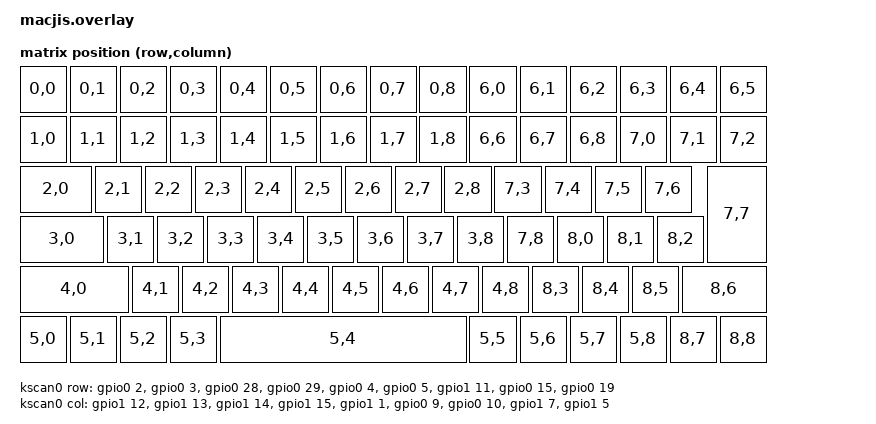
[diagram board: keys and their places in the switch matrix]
/* scripts/gen_zmk.py で生成。直接編集しない */

#include <dt-bindings/zmk/matrix_transform.h>
#include <physical_layouts.dtsi>

/ {
    chosen {
        zmk,kscan = &kscan0;
        zmk,physical-layout = &macjis_layout;
    };

    kscan0: kscan {
        compatible = "zmk,kscan-gpio-matrix";
        wakeup-source;
        diode-direction = "col2row";

        row-gpios
            = <&gpio0 2 (GPIO_ACTIVE_HIGH | GPIO_PULL_DOWN)>  /* ROW0 = D0 */
            , <&gpio0 3 (GPIO_ACTIVE_HIGH | GPIO_PULL_DOWN)>  /* ROW1 = D1 */
            , <&gpio0 28 (GPIO_ACTIVE_HIGH | GPIO_PULL_DOWN)>  /* ROW2 = D2 */
            , <&gpio0 29 (GPIO_ACTIVE_HIGH | GPIO_PULL_DOWN)>  /* ROW3 = D3 */
            , <&gpio0 4 (GPIO_ACTIVE_HIGH | GPIO_PULL_DOWN)>  /* ROW4 = D4 */
            , <&gpio0 5 (GPIO_ACTIVE_HIGH | GPIO_PULL_DOWN)>  /* ROW5 = D5 */
            , <&gpio1 11 (GPIO_ACTIVE_HIGH | GPIO_PULL_DOWN)>  /* ROW6 = D6 */
            , <&gpio0 15 (GPIO_ACTIVE_HIGH | GPIO_PULL_DOWN)>  /* ROW7 = D11 */
            , <&gpio0 19 (GPIO_ACTIVE_HIGH | GPIO_PULL_DOWN)>  /* ROW8 = D12 */
            ;
        col-gpios
            = <&gpio1 12 GPIO_ACTIVE_HIGH>  /* COL0 = D7 */
            , <&gpio1 13 GPIO_ACTIVE_HIGH>  /* COL1 = D8 */
            , <&gpio1 14 GPIO_ACTIVE_HIGH>  /* COL2 = D9 */
            , <&gpio1 15 GPIO_ACTIVE_HIGH>  /* COL3 = D10 */
            , <&gpio1 1 GPIO_ACTIVE_HIGH>  /* COL4 = D13 */
            , <&gpio0 9 GPIO_ACTIVE_HIGH>  /* COL5 = D14 */
            , <&gpio0 10 GPIO_ACTIVE_HIGH>  /* COL6 = D15 */
            , <&gpio1 7 GPIO_ACTIVE_HIGH>  /* COL7 = D17 */
            , <&gpio1 5 GPIO_ACTIVE_HIGH>  /* COL8 = D18 */
            ;
    };

    default_transform: keymap_transform_0 {
        compatible = "zmk,matrix-transform";
        rows = <9>;
        columns = <9>;
        map = <
RC(0,0) RC(0,1) RC(0,2) RC(0,3) RC(0,4) RC(0,5) RC(0,6) RC(0,7) RC(0,8) RC(6,0) RC(6,1) RC(6,2) RC(6,3) RC(6,4) RC(6,5)
RC(1,0) RC(1,1) RC(1,2) RC(1,3) RC(1,4) RC(1,5) RC(1,6) RC(1,7) RC(1,8) RC(6,6) RC(6,7) RC(6,8) RC(7,0) RC(7,1) RC(7,2)
RC(2,0) RC(2,1) RC(2,2) RC(2,3) RC(2,4) RC(2,5) RC(2,6) RC(2,7) RC(2,8) RC(7,3) RC(7,4) RC(7,5) RC(7,6) RC(7,7)
RC(3,0) RC(3,1) RC(3,2) RC(3,3) RC(3,4) RC(3,5) RC(3,6) RC(3,7) RC(3,8) RC(7,8) RC(8,0) RC(8,1) RC(8,2)
RC(4,0) RC(4,1) RC(4,2) RC(4,3) RC(4,4) RC(4,5) RC(4,6) RC(4,7) RC(4,8) RC(8,3) RC(8,4) RC(8,5) RC(8,6)
RC(5,0) RC(5,1) RC(5,2) RC(5,3) RC(5,4) RC(5,5) RC(5,6) RC(5,7) RC(5,8) RC(8,7) RC(8,8)
        >;
    };

    macjis_layout: macjis_layout {
        compatible = "zmk,physical-layout";
        display-name = "MacBook JIS 75%";
        transform = <&default_transform>;

        keys  //                     w   h    x   y  rot rx ry
            = <&key_physical_attrs 100 100    0   0 0 0 0>  /* esc */
            , <&key_physical_attrs 100 100  100   0 0 0 0>  /* F1 */
            , <&key_physical_attrs 100 100  200   0 0 0 0>  /* F2 */
            , <&key_physical_attrs 100 100  300   0 0 0 0>  /* F3 */
            , <&key_physical_attrs 100 100  400   0 0 0 0>  /* F4 */
            , <&key_physical_attrs 100 100  500   0 0 0 0>  /* F5 */
            , <&key_physical_attrs 100 100  600   0 0 0 0>  /* F6 */
            , <&key_physical_attrs 100 100  700   0 0 0 0>  /* F7 */
            , <&key_physical_attrs 100 100  800   0 0 0 0>  /* F8 */
            , <&key_physical_attrs 100 100  900   0 0 0 0>  /* F9 */
            , <&key_physical_attrs 100 100 1000   0 0 0 0>  /* F10 */
            , <&key_physical_attrs 100 100 1100   0 0 0 0>  /* F11 */
            , <&key_physical_attrs 100 100 1200   0 0 0 0>  /* F12 */
            , <&key_physical_attrs 100 100 1300   0 0 0 0>  /* lock */
            , <&key_physical_attrs 100 100 1400   0 0 0 0>  /* light */
            , <&key_physical_attrs 100 100    0 100 0 0 0>  /* 半角 */
            , <&key_physical_attrs 100 100  100 100 0 0 0>  /* 1 */
            , <&key_physical_attrs 100 100  200 100 0 0 0>  /* 2 */
            , <&key_physical_attrs 100 100  300 100 0 0 0>  /* 3 */
            , <&key_physical_attrs 100 100  400 100 0 0 0>  /* 4 */
            , <&key_physical_attrs 100 100  500 100 0 0 0>  /* 5 */
            , <&key_physical_attrs 100 100  600 100 0 0 0>  /* 6 */
            , <&key_physical_attrs 100 100  700 100 0 0 0>  /* 7 */
            , <&key_physical_attrs 100 100  800 100 0 0 0>  /* 8 */
            , <&key_physical_attrs 100 100  900 100 0 0 0>  /* 9 */
            , <&key_physical_attrs 100 100 1000 100 0 0 0>  /* 0 */
            , <&key_physical_attrs 100 100 1100 100 0 0 0>  /* - */
            , <&key_physical_attrs 100 100 1200 100 0 0 0>  /* ^ */
            , <&key_physical_attrs 100 100 1300 100 0 0 0>  /* ¥ */
            , <&key_physical_attrs 100 100 1400 100 0 0 0>  /* bs */
            , <&key_physical_attrs 150 100    0 200 0 0 0>  /* tab */
            , <&key_physical_attrs 100 100  150 200 0 0 0>  /* Q */
            , <&key_physical_attrs 100 100  250 200 0 0 0>  /* W */
            , <&key_physical_attrs 100 100  350 200 0 0 0>  /* E */
            , <&key_physical_attrs 100 100  450 200 0 0 0>  /* R */
            , <&key_physical_attrs 100 100  550 200 0 0 0>  /* T */
            , <&key_physical_attrs 100 100  650 200 0 0 0>  /* Y */
            , <&key_physical_attrs 100 100  750 200 0 0 0>  /* U */
            , <&key_physical_attrs 100 100  850 200 0 0 0>  /* I */
            , <&key_physical_attrs 100 100  950 200 0 0 0>  /* O */
            , <&key_physical_attrs 100 100 1050 200 0 0 0>  /* P */
            , <&key_physical_attrs 100 100 1150 200 0 0 0>  /* @ */
            , <&key_physical_attrs 100 100 1250 200 0 0 0>  /* [ */
            , <&key_physical_attrs 125 200 1375 200 0 0 0>  /* enter */
            , <&key_physical_attrs 175 100    0 300 0 0 0>  /* ctrl */
            , <&key_physical_attrs 100 100  175 300 0 0 0>  /* A */
            , <&key_physical_attrs 100 100  275 300 0 0 0>  /* S */
            , <&key_physical_attrs 100 100  375 300 0 0 0>  /* D */
            , <&key_physical_attrs 100 100  475 300 0 0 0>  /* F */
            , <&key_physical_attrs 100 100  575 300 0 0 0>  /* G */
            , <&key_physical_attrs 100 100  675 300 0 0 0>  /* H */
            , <&key_physical_attrs 100 100  775 300 0 0 0>  /* J */
            , <&key_physical_attrs 100 100  875 300 0 0 0>  /* K */
            , <&key_physical_attrs 100 100  975 300 0 0 0>  /* L */
            , <&key_physical_attrs 100 100 1075 300 0 0 0>  /* ; */
            , <&key_physical_attrs 100 100 1175 300 0 0 0>  /* : */
            , <&key_physical_attrs 100 100 1275 300 0 0 0>  /* ] */
            , <&key_physical_attrs 225 100    0 400 0 0 0>  /* shift */
            , <&key_physical_attrs 100 100  225 400 0 0 0>  /* Z */
            , <&key_physical_attrs 100 100  325 400 0 0 0>  /* X */
            , <&key_physical_attrs 100 100  425 400 0 0 0>  /* C */
            , <&key_physical_attrs 100 100  525 400 0 0 0>  /* V */
            , <&key_physical_attrs 100 100  625 400 0 0 0>  /* B */
            , <&key_physical_attrs 100 100  725 400 0 0 0>  /* N */
            , <&key_physical_attrs 100 100  825 400 0 0 0>  /* M */
            , <&key_physical_attrs 100 100  925 400 0 0 0>  /* , */
            , <&key_physical_attrs 100 100 1025 400 0 0 0>  /* . */
            , <&key_physical_attrs 100 100 1125 400 0 0 0>  /* / */
            , <&key_physical_attrs 100 100 1225 400 0 0 0>  /* _ */
            , <&key_physical_attrs 175 100 1325 400 0 0 0>  /* shift */
            , <&key_physical_attrs 100 100    0 500 0 0 0>  /* fn */
            , <&key_physical_attrs 100 100  100 500 0 0 0>  /* opt */
            , <&key_physical_attrs 100 100  200 500 0 0 0>  /* cmd */
            , <&key_physical_attrs 100 100  300 500 0 0 0>  /* 英数 */
            , <&key_physical_attrs 500 100  400 500 0 0 0>  /* space */
            , <&key_physical_attrs 100 100  900 500 0 0 0>  /* かな */
            , <&key_physical_attrs 100 100 1000 500 0 0 0>  /* cmd */
            , <&key_physical_attrs 100 100 1100 500 0 0 0>  /* ← */
            , <&key_physical_attrs 100 100 1200 500 0 0 0>  /* ↑ */
            , <&key_physical_attrs 100 100 1300 500 0 0 0>  /* ↓ */
            , <&key_physical_attrs 100 100 1400 500 0 0 0>  /* → */
            ;
    };
};

/ {
    /* 電源スイッチは無い。&soft_off で切り、キーを押すと復帰する（kscan を復帰元にする） */
    soft_off_wakers {
        compatible = "zmk,soft-off-wakeup-sources";
        wakeup-sources = <&kscan0>;
    };

};

/* 状態ランプは XIAO の 3 色 LED。zmk-rgbled-widget の rgbled_adapter シールドが割り当てる
   （build.yaml で shield に一緒に指定する） */

/* D14 (P0.09) / D15 (P0.10) は NFC 端子なので GPIO として使う設定にする */
&uicr {
    nfct-pins-as-gpios;
};
